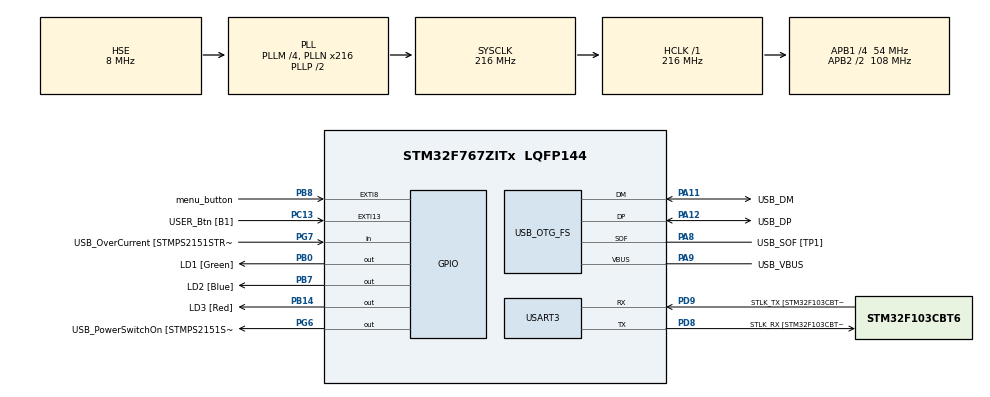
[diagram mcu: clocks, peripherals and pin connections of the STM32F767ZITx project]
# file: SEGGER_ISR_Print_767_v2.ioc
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FREERTOS.Tasks01=defaultTask,24,128,StartDefaultTask,Default,NULL,Dynamic,NULL,NULL;myTask_ON,24,256,StartTask_ON,Default,NULL,Dynamic,NULL,NULL;myTask_OFF,24,256,StartTask_OFF,Default,NULL,Static,myTask_OFFBuffer,myTask_OFFControlBlock
FREERTOS.configRECORD_STACK_HIGH_ADDRESS=1
FREERTOS.configUSE_NEWLIB_REENTRANT=1
Mcu.Family=STM32F7
Mcu.Name=STM32F767ZITx
Mcu.Package=LQFP144
NVIC.EXTI15_10_IRQn=true\:5\:0\:false\:false\:true\:true\:true\:true\:true
NVIC.EXTI9_5_IRQn=true\:0\:0\:false\:false\:true\:false\:true\:true\:true
NVIC.PriorityGroup=NVIC_PRIORITYGROUP_4
NVIC.TIM8_TRG_COM_TIM14_IRQn=true\:15\:0\:false\:false\:true\:false\:false\:true\:true
NVIC.TimeBase=TIM8_TRG_COM_TIM14_IRQn
NVIC.TimeBaseIP=TIM14
PA1.GPIO_Label=RMII_REF_CLK [LAN8742A-CZ-TR_REFCLK0]
PA1.Signal=ETH_REF_CLK
PA10.GPIO_Label=USB_ID
PA10.Signal=USB_OTG_FS_ID
PA11.GPIO_Label=USB_DM
PA11.Mode=Device_Only
PA11.Signal=USB_OTG_FS_DM
PA12.GPIO_Label=USB_DP
PA12.Mode=Device_Only
PA12.Signal=USB_OTG_FS_DP
PA13.GPIO_Label=TMS
PA13.Mode=Trace_Asynchronous_SW
PA13.Signal=SYS_JTMS-SWDIO
PA14.GPIO_Label=TCK
PA14.Mode=Trace_Asynchronous_SW
PA14.Signal=SYS_JTCK-SWCLK
PA2.GPIO_Label=RMII_MDIO [LAN8742A-CZ-TR_MDIO]
PA2.Signal=ETH_MDIO
PA7.GPIO_Label=RMII_CRS_DV [LAN8742A-CZ-TR_CRS_DV]
PA7.Signal=ETH_CRS_DV
PA8.GPIO_Label=USB_SOF [TP1]
PA8.Mode=Activate_SOF_FS
PA8.Signal=USB_OTG_FS_SOF
PA9.GPIO_Label=USB_VBUS
PA9.Mode=Activate_VBUS
PA9.Signal=USB_OTG_FS_VBUS
PB0.GPIO_Label=LD1 [Green]
PB0.Signal=GPIO_Output
PB13.GPIO_Label=RMII_TXD1 [LAN8742A-CZ-TR_TXD1]
PB13.Signal=ETH_TXD1
PB14.GPIO_Label=LD3 [Red]
PB14.Signal=GPIO_Output
PB3.GPIO_Label=SWO
PB3.Mode=Trace_Asynchronous_SW
PB3.Signal=SYS_JTDO-SWO
PB7.GPIO_Label=LD2 [Blue]
PB7.Signal=GPIO_Output
PB8.GPIO_Label=menu_button
PB8.GPIO_ModeDefaultEXTI=GPIO_MODE_IT_FALLING
PB8.GPIO_PuPd=GPIO_PULLUP
PB8.Signal=GPXTI8
PC1.GPIO_Label=RMII_MDC [LAN8742A-CZ-TR_MDC]
PC1.Signal=ETH_MDC
PC13.GPIO_Label=USER_Btn [B1]
PC13.GPIO_ModeDefaultEXTI=GPIO_MODE_IT_FALLING
PC13.Signal=GPXTI13
PC14/OSC32_IN.Mode=LSE-External-Oscillator
PC14/OSC32_IN.Signal=RCC_OSC32_IN
PC15/OSC32_OUT.Mode=LSE-External-Oscillator
PC15/OSC32_OUT.Signal=RCC_OSC32_OUT
PC4.GPIO_Label=RMII_RXD0 [LAN8742A-CZ-TR_RXD0]
PC4.Signal=ETH_RXD0
PC5.GPIO_Label=RMII_RXD1 [LAN8742A-CZ-TR_RXD1]
PC5.Signal=ETH_RXD1
PD8.GPIO_Label=STLK_RX [STM32F103CBT6_PA3]
PD8.Mode=Asynchronous
PD8.Signal=USART3_TX
PD9.GPIO_Label=STLK_TX [STM32F103CBT6_PA2]
PD9.Mode=Asynchronous
PD9.Signal=USART3_RX
PG11.GPIO_Label=RMII_TX_EN [LAN8742A-CZ-TR_TXEN]
PG11.Signal=ETH_TX_EN
PG13.GPIO_Label=RMII_TXD0 [LAN8742A-CZ-TR_TXD0]
PG13.Signal=ETH_TXD0
PG6.GPIO_Label=USB_PowerSwitchOn [STMPS2151STR_EN]
PG6.Signal=GPIO_Output
PG7.GPIO_Label=USB_OverCurrent [STMPS2151STR_FAULT]
PG7.Signal=GPIO_Input
PH0/OSC_IN.GPIO_Label=MCO [STM32F103CBT6_PA8]
PH0/OSC_IN.Mode=HSE-External-Clock-Source
PH0/OSC_IN.Signal=RCC_OSC_IN
PH1/OSC_OUT.Mode=HSE-External-Clock-Source
PH1/OSC_OUT.Signal=RCC_OSC_OUT
ProjectManager.HeapSize=0x200
ProjectManager.StackSize=0x400
ProjectManager.TargetToolchain=STM32CubeIDE
RCC.48MHZClocksFreq_Value=24000000
RCC.AHBFreq_Value=216000000
RCC.APB1CLKDivider=RCC_HCLK_DIV4
RCC.APB1Freq_Value=54000000
RCC.APB1TimFreq_Value=108000000
RCC.APB2CLKDivider=RCC_HCLK_DIV2
RCC.APB2Freq_Value=108000000
RCC.APB2TimFreq_Value=216000000
RCC.CortexFreq_Value=216000000
RCC.HCLKFreq_Value=216000000
RCC.HSE_VALUE=8000000
RCC.HSI_VALUE=16000000
RCC.PLLM=4
RCC.PLLMUL=RCC_PLL_MUL9
RCC.PLLN=216
RCC.PLLQ=9
RCC.PRESCALERUSB=RCC_USBCLKSOURCE_PLL_DIV1_5
RCC.SYSCLKFreq_VALUE=216000000
RCC.SYSCLKSource=RCC_SYSCLKSOURCE_PLLCLK
RCC.SYSCLKSourceVirtual=RCC_SYSCLKSOURCE_PLLCLK
RCC.USBFreq_Value=48000000
RCC.VCOOutputFreq_Value=432000000
USART3.VirtualMode-Asynchronous=VM_ASYNC
USB_OTG_FS.VirtualMode=Device_Only
VP_FREERTOS_VS_CMSIS_V2.Mode=CMSIS_V2
VP_SYS_VS_tim14.Mode=TIM14
board=NUCLEO-F767ZI

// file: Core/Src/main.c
/* USER CODE BEGIN Header */
/**
  ******************************************************************************
  * @file           : main.c
  * @brief          : Main program body
  ******************************************************************************
  * @attention
  *
  * Copyright (c) 2023 STMicroelectronics.
  * All rights reserved.
  *
  * This software is licensed under terms that can be found in the LICENSE file
  * in the root directory of this software component.
  * If no LICENSE file comes with this software, it is provided AS-IS.
  *
  ******************************************************************************
  */
/* USER CODE END Header */
#include "main.h"
#include "cmsis_os.h"

/* USER CODE BEGIN Includes */
#include <stdio.h>/* для printf */
#include "stdbool.h"
#include "SEGGER_SYSVIEW_Conf.h"
#include "SEGGER_SYSVIEW.h"
/* USER CODE END Includes */

typedef StaticTask_t osStaticThreadDef_t;
/* USER CODE BEGIN PTD */
bool flag;
unsigned long T;
/* USER CODE END PTD */

UART_HandleTypeDef huart3;

PCD_HandleTypeDef hpcd_USB_OTG_FS;

/* Definitions for defaultTask */
osThreadId_t defaultTaskHandle;
const osThreadAttr_t defaultTask_attributes = {
  .name = "defaultTask",
  .stack_size = 128 * 4,
  .priority = (osPriority_t) osPriorityNormal,
};
/* Definitions for myTask_ON */
osThreadId_t myTask_ONHandle;
const osThreadAttr_t myTask_ON_attributes = {
  .name = "myTask_ON",
  .stack_size = 256 * 4,
  .priority = (osPriority_t) osPriorityNormal,
};
/* Definitions for myTask_OFF */
osThreadId_t myTask_OFFHandle;
uint32_t myTask_OFFBuffer[ 256 ];
osStaticThreadDef_t myTask_OFFControlBlock;
const osThreadAttr_t myTask_OFF_attributes = {
  .name = "myTask_OFF",
  .cb_mem = &myTask_OFFControlBlock,
  .cb_size = sizeof(myTask_OFFControlBlock),
  .stack_mem = &myTask_OFFBuffer[0],
  .stack_size = sizeof(myTask_OFFBuffer),
  .priority = (osPriority_t) osPriorityNormal,
};

void SystemClock_Config(void);
static void MX_GPIO_Init(void);
static void MX_USART3_UART_Init(void);
static void MX_USB_OTG_FS_PCD_Init(void);
void StartDefaultTask(void *argument);
void StartTask_ON(void *argument);
void StartTask_OFF(void *argument);

/* USER CODE BEGIN 0 */
MenuButton_t hMenuButton;
/* USER CODE END 0 */

int main(void)
{
  /* USER CODE BEGIN 1 */
	hMenuButton.buttonFlag.data = RESET; //Flag reset

	SEGGER_SYSVIEW_Conf();
  /* USER CODE END 1 */

  /* MCU Configuration--------------------------------------------------------*/

  /* Reset of all peripherals, Initializes the Flash interface and the Systick. */
  HAL_Init();

  /* USER CODE BEGIN Init */
	T = HAL_GetTick();
	flag = 1;
  /* USER CODE END Init */

  /* Configure the system clock */
  SystemClock_Config();

  /* Initialize all configured peripherals */
  MX_GPIO_Init();
  MX_USART3_UART_Init();
  MX_USB_OTG_FS_PCD_Init();

  /* Init scheduler */
  osKernelInitialize();

  /* Create the thread(s) */
  /* creation of defaultTask */
  defaultTaskHandle = osThreadNew(StartDefaultTask, NULL, &defaultTask_attributes);

  /* creation of myTask_ON */
  myTask_ONHandle = osThreadNew(StartTask_ON, NULL, &myTask_ON_attributes);

  /* creation of myTask_OFF */
  myTask_OFFHandle = osThreadNew(StartTask_OFF, NULL, &myTask_OFF_attributes);

  /* Start scheduler */
  osKernelStart();

  /* We should never get here as control is now taken by the scheduler */
  /* Infinite loop */
  while (1)
  {

  }
}

void SystemClock_Config(void)
{
  RCC_OscInitTypeDef RCC_OscInitStruct = {0};
  RCC_ClkInitTypeDef RCC_ClkInitStruct = {0};

  /** Configure LSE Drive Capability
  */
  HAL_PWR_EnableBkUpAccess();

  /** Configure the main internal regulator output voltage
  */
  __HAL_RCC_PWR_CLK_ENABLE();
  __HAL_PWR_VOLTAGESCALING_CONFIG(PWR_REGULATOR_VOLTAGE_SCALE1);

  /** Initializes the RCC Oscillators according to the specified parameters
  * in the RCC_OscInitTypeDef structure.
  */
  RCC_OscInitStruct.OscillatorType = RCC_OSCILLATORTYPE_HSE;
  RCC_OscInitStruct.HSEState = RCC_HSE_BYPASS;
  RCC_OscInitStruct.PLL.PLLState = RCC_PLL_ON;
  RCC_OscInitStruct.PLL.PLLSource = RCC_PLLSOURCE_HSE;
  RCC_OscInitStruct.PLL.PLLM = 4;
  RCC_OscInitStruct.PLL.PLLN = 216;
  RCC_OscInitStruct.PLL.PLLP = RCC_PLLP_DIV2;
  RCC_OscInitStruct.PLL.PLLQ = 9;
  RCC_OscInitStruct.PLL.PLLR = 2;
  if (HAL_RCC_OscConfig(&RCC_OscInitStruct) != HAL_OK)
  {
    Error_Handler();
  }

  /** Activate the Over-Drive mode
  */
  if (HAL_PWREx_EnableOverDrive() != HAL_OK)
  {
    Error_Handler();
  }

  /** Initializes the CPU, AHB and APB buses clocks
  */
  RCC_ClkInitStruct.ClockType = RCC_CLOCKTYPE_HCLK|RCC_CLOCKTYPE_SYSCLK
                              |RCC_CLOCKTYPE_PCLK1|RCC_CLOCKTYPE_PCLK2;
  RCC_ClkInitStruct.SYSCLKSource = RCC_SYSCLKSOURCE_PLLCLK;
  RCC_ClkInitStruct.AHBCLKDivider = RCC_SYSCLK_DIV1;
  RCC_ClkInitStruct.APB1CLKDivider = RCC_HCLK_DIV4;
  RCC_ClkInitStruct.APB2CLKDivider = RCC_HCLK_DIV2;

  if (HAL_RCC_ClockConfig(&RCC_ClkInitStruct, FLASH_LATENCY_7) != HAL_OK)
  {
    Error_Handler();
  }
}

static void MX_USART3_UART_Init(void)
{

  huart3.Instance = USART3;
  huart3.Init.BaudRate = 115200;
  huart3.Init.WordLength = UART_WORDLENGTH_8B;
  huart3.Init.StopBits = UART_STOPBITS_1;
  huart3.Init.Parity = UART_PARITY_NONE;
  huart3.Init.Mode = UART_MODE_TX_RX;
  huart3.Init.HwFlowCtl = UART_HWCONTROL_NONE;
  huart3.Init.OverSampling = UART_OVERSAMPLING_16;
  huart3.Init.OneBitSampling = UART_ONE_BIT_SAMPLE_DISABLE;
  huart3.AdvancedInit.AdvFeatureInit = UART_ADVFEATURE_NO_INIT;
  if (HAL_UART_Init(&huart3) != HAL_OK)
  {
    Error_Handler();
  }

}

static void MX_USB_OTG_FS_PCD_Init(void)
{

  hpcd_USB_OTG_FS.Instance = USB_OTG_FS;
  hpcd_USB_OTG_FS.Init.dev_endpoints = 6;
  hpcd_USB_OTG_FS.Init.speed = PCD_SPEED_FULL;
  hpcd_USB_OTG_FS.Init.dma_enable = DISABLE;
  hpcd_USB_OTG_FS.Init.phy_itface = PCD_PHY_EMBEDDED;
  hpcd_USB_OTG_FS.Init.Sof_enable = ENABLE;
  hpcd_USB_OTG_FS.Init.low_power_enable = DISABLE;
  hpcd_USB_OTG_FS.Init.lpm_enable = DISABLE;
  hpcd_USB_OTG_FS.Init.vbus_sensing_enable = ENABLE;
  hpcd_USB_OTG_FS.Init.use_dedicated_ep1 = DISABLE;
  if (HAL_PCD_Init(&hpcd_USB_OTG_FS) != HAL_OK)
  {
    Error_Handler();
  }

}

static void MX_GPIO_Init(void)
{
  GPIO_InitTypeDef GPIO_InitStruct = {0};

  /* GPIO Ports Clock Enable */
  __HAL_RCC_GPIOC_CLK_ENABLE();
  __HAL_RCC_GPIOH_CLK_ENABLE();
  __HAL_RCC_GPIOA_CLK_ENABLE();
  __HAL_RCC_GPIOB_CLK_ENABLE();
  __HAL_RCC_GPIOD_CLK_ENABLE();
  __HAL_RCC_GPIOG_CLK_ENABLE();

  /*Configure GPIO pin Output Level */
  HAL_GPIO_WritePin(GPIOB, LD1_Pin|LD3_Pin|LD2_Pin, GPIO_PIN_RESET);

  /*Configure GPIO pin Output Level */
  HAL_GPIO_WritePin(USB_PowerSwitchOn_GPIO_Port, USB_PowerSwitchOn_Pin, GPIO_PIN_RESET);

  /*Configure GPIO pin : USER_Btn_Pin */
  GPIO_InitStruct.Pin = USER_Btn_Pin;
  GPIO_InitStruct.Mode = GPIO_MODE_IT_FALLING;
  GPIO_InitStruct.Pull = GPIO_NOPULL;
  HAL_GPIO_Init(USER_Btn_GPIO_Port, &GPIO_InitStruct);

  /*Configure GPIO pins : RMII_MDC_Pin RMII_RXD0_Pin RMII_RXD1_Pin */
  GPIO_InitStruct.Pin = RMII_MDC_Pin|RMII_RXD0_Pin|RMII_RXD1_Pin;
  GPIO_InitStruct.Mode = GPIO_MODE_AF_PP;
  GPIO_InitStruct.Pull = GPIO_NOPULL;
  GPIO_InitStruct.Speed = GPIO_SPEED_FREQ_VERY_HIGH;
  GPIO_InitStruct.Alternate = GPIO_AF11_ETH;
  HAL_GPIO_Init(GPIOC, &GPIO_InitStruct);

  /*Configure GPIO pins : RMII_REF_CLK_Pin RMII_MDIO_Pin RMII_CRS_DV_Pin */
  GPIO_InitStruct.Pin = RMII_REF_CLK_Pin|RMII_MDIO_Pin|RMII_CRS_DV_Pin;
  GPIO_InitStruct.Mode = GPIO_MODE_AF_PP;
  GPIO_InitStruct.Pull = GPIO_NOPULL;
  GPIO_InitStruct.Speed = GPIO_SPEED_FREQ_VERY_HIGH;
  GPIO_InitStruct.Alternate = GPIO_AF11_ETH;
  HAL_GPIO_Init(GPIOA, &GPIO_InitStruct);

  /*Configure GPIO pins : LD1_Pin LD3_Pin LD2_Pin */
  GPIO_InitStruct.Pin = LD1_Pin|LD3_Pin|LD2_Pin;
  GPIO_InitStruct.Mode = GPIO_MODE_OUTPUT_PP;
  GPIO_InitStruct.Pull = GPIO_NOPULL;
  GPIO_InitStruct.Speed = GPIO_SPEED_FREQ_LOW;
  HAL_GPIO_Init(GPIOB, &GPIO_InitStruct);

  /*Configure GPIO pin : RMII_TXD1_Pin */
  GPIO_InitStruct.Pin = RMII_TXD1_Pin;
  GPIO_InitStruct.Mode = GPIO_MODE_AF_PP;
  GPIO_InitStruct.Pull = GPIO_NOPULL;
  GPIO_InitStruct.Speed = GPIO_SPEED_FREQ_VERY_HIGH;
  GPIO_InitStruct.Alternate = GPIO_AF11_ETH;
  HAL_GPIO_Init(RMII_TXD1_GPIO_Port, &GPIO_InitStruct);

  /*Configure GPIO pin : USB_PowerSwitchOn_Pin */
  GPIO_InitStruct.Pin = USB_PowerSwitchOn_Pin;
  GPIO_InitStruct.Mode = GPIO_MODE_OUTPUT_PP;
  GPIO_InitStruct.Pull = GPIO_NOPULL;
  GPIO_InitStruct.Speed = GPIO_SPEED_FREQ_LOW;
  HAL_GPIO_Init(USB_PowerSwitchOn_GPIO_Port, &GPIO_InitStruct);

  /*Configure GPIO pin : USB_OverCurrent_Pin */
  GPIO_InitStruct.Pin = USB_OverCurrent_Pin;
  GPIO_InitStruct.Mode = GPIO_MODE_INPUT;
  GPIO_InitStruct.Pull = GPIO_NOPULL;
  HAL_GPIO_Init(USB_OverCurrent_GPIO_Port, &GPIO_InitStruct);

  /*Configure GPIO pins : RMII_TX_EN_Pin RMII_TXD0_Pin */
  GPIO_InitStruct.Pin = RMII_TX_EN_Pin|RMII_TXD0_Pin;
  GPIO_InitStruct.Mode = GPIO_MODE_AF_PP;
  GPIO_InitStruct.Pull = GPIO_NOPULL;
  GPIO_InitStruct.Speed = GPIO_SPEED_FREQ_VERY_HIGH;
  GPIO_InitStruct.Alternate = GPIO_AF11_ETH;
  HAL_GPIO_Init(GPIOG, &GPIO_InitStruct);

  /*Configure GPIO pin : menu_button_Pin */
  GPIO_InitStruct.Pin = menu_button_Pin;
  GPIO_InitStruct.Mode = GPIO_MODE_IT_FALLING;
  GPIO_InitStruct.Pull = GPIO_PULLUP;
  HAL_GPIO_Init(menu_button_GPIO_Port, &GPIO_InitStruct);

  /* EXTI interrupt init*/
  HAL_NVIC_SetPriority(EXTI9_5_IRQn, 0, 0);
  HAL_NVIC_EnableIRQ(EXTI9_5_IRQn);

  HAL_NVIC_SetPriority(EXTI15_10_IRQn, 5, 0);
  HAL_NVIC_EnableIRQ(EXTI15_10_IRQn);

}

/* USER CODE BEGIN 4 */
uint8_t MenuButton_Debounce(void) //Menu Button debounce function
{
	uint8_t 		ret = DISABLE;
	static uint16_t Level = Restart_Level;
	if(!HAL_GPIO_ReadPin(menu_button_GPIO_Port, menu_button_Pin))
	{
		++Level;
	}
	else
	{
		--Level;
		if(Level <= Restart_Level)
		{
			Level = Restart_Level;
		}
	}
	if(Level >= 4000)
	{
		Level = Acceptance_Level;
		ret = ENABLE;
	}
	return ret;
}

void setTimer(uint32_t* timer)
{
	*timer = HAL_GetTick();
}
uint8_t checkTimer(uint32_t* timer, uint32_t msTime)
{
	uint8_t ret = RESET;
	ret = ((HAL_GetTick() - *timer) > msTime)  ? ENABLE : DISABLE;
	return ret;
}
/* USER CODE END 4 */

void StartDefaultTask(void *argument)
{
  /* USER CODE BEGIN 5 */
  /* Infinite loop */
  for(;;)
  {
	  if(hMenuButton.buttonFlag.bit.B0)
		  {
			  if(MenuButton_Debounce())											//Apply de-bounce algorithm before taking any action
			  {
				  hMenuButton.buttonFlag.bit.B0 = RESET;						//Reset interrupt flag

				  if(hMenuButton.buttonTimerEnable != SET)						//Start timer when the menu button gets pressed for the first time
				  {
					  hMenuButton.buttonTimerEnable = SET;						//Enable software timer
					  hMenuButton.buttonStatus = MenuButtonStatus_oneClick;		//The menu button has been pressed for one time
					  setTimer(&hMenuButton.buttonTimer);						//Start software timer
				  }
				  else
				  {
					  hMenuButton.buttonStatus = MenuButtonStatus_doubleClick;	//If the timer is already started this means that the button is pressed for the second time
				  }
			  }
		  }
		  if((checkTimer(&hMenuButton.buttonTimer, 5 * hMenuButton.buttonHeldPressedCounter)) && ( hMenuButton.buttonStatus == MenuButtonStatus_oneClick))
		  {																		//If the menu button has been pressed, take logic sample every 10 ms from the button read pin
			  if(!HAL_GPIO_ReadPin(menu_button_GPIO_Port, menu_button_Pin))		//To check if the button is still pressed
			  {
				  ++hMenuButton.buttonHeldPressedCounter;						//Increment samples number
			  }
			  hMenuButton.buttonStatus = (hMenuButton.buttonHeldPressedCounter >= 65)  ? MenuButtonStatus_heldPressed : hMenuButton.buttonStatus;
		  }																		//If the button is held pressed change button status
		  if((checkTimer(&hMenuButton.buttonTimer, 350)) && hMenuButton.buttonTimerEnable)
		  {																		//Take decision after 300 ms whether one click, double click or held pressed event has occured
			  switch(hMenuButton.buttonStatus)
			  {
			  	  case	MenuButtonStatus_oneClick:
			  		//printf("oneClick \r\n");
			  		HAL_GPIO_TogglePin(LD3_GPIO_Port, LD3_Pin); // Red
			  		  break;
			  	  case 	MenuButtonStatus_doubleClick:
			  		//printf("doubleClick \r\n");
			  		 break;
			  	  case MenuButtonStatus_heldPressed:
			  		//printf("heldPressed \r\n");
			  		HAL_GPIO_TogglePin(LD1_GPIO_Port, LD1_Pin); // Green
			  		 break;
			  	case MenuButtonStatus_notPressed:
			  		 break;

			  }
			  hMenuButton.buttonTimerEnable 		= RESET;					//Disable software timer
			  hMenuButton.buttonHeldPressedCounter 	= RESET;					//Reset counter
			  hMenuButton.buttonStatus 				= MenuButtonStatus_notPressed;
			  	  	  	  	  	  	  	  	  	  	  	  	  	  	  	  	  	//button status is set to no press to avoid misbehavior of the button functionality
		  }
	  }
  /* USER CODE END 5 */
}

void StartTask_ON(void *argument)
{
  /* USER CODE BEGIN StartTask_ON */
  /* Infinite loop */
  for(;;)
  {
		if (flag == 0) {
			if (HAL_GetTick() - T >= 250) {
				flag = 1;
				T = HAL_GetTick();
			}
		}
		HAL_GPIO_WritePin(LD2_GPIO_Port, LD2_Pin, flag);// Blue
		//osDelay(1);
	}
  /* USER CODE END StartTask_ON */
}

void StartTask_OFF(void *argument)
{
  /* USER CODE BEGIN StartTask_OFF */
  /* Infinite loop */
  for(;;)
  {
		if (flag == 1) {
			if (HAL_GetTick() - T >= 250) {
				flag = 0;
				T = HAL_GetTick();
			}
		}
		HAL_GPIO_WritePin(LD2_GPIO_Port, LD2_Pin, flag);// Blue
		//osDelay(1);
	}
  /* USER CODE END StartTask_OFF */
}

void HAL_TIM_PeriodElapsedCallback(TIM_HandleTypeDef *htim)
{
  if (htim->Instance == TIM14) {
    HAL_IncTick();
  }
}

void Error_Handler(void)
{
  __disable_irq();
  while (1)
  {
  }
}
